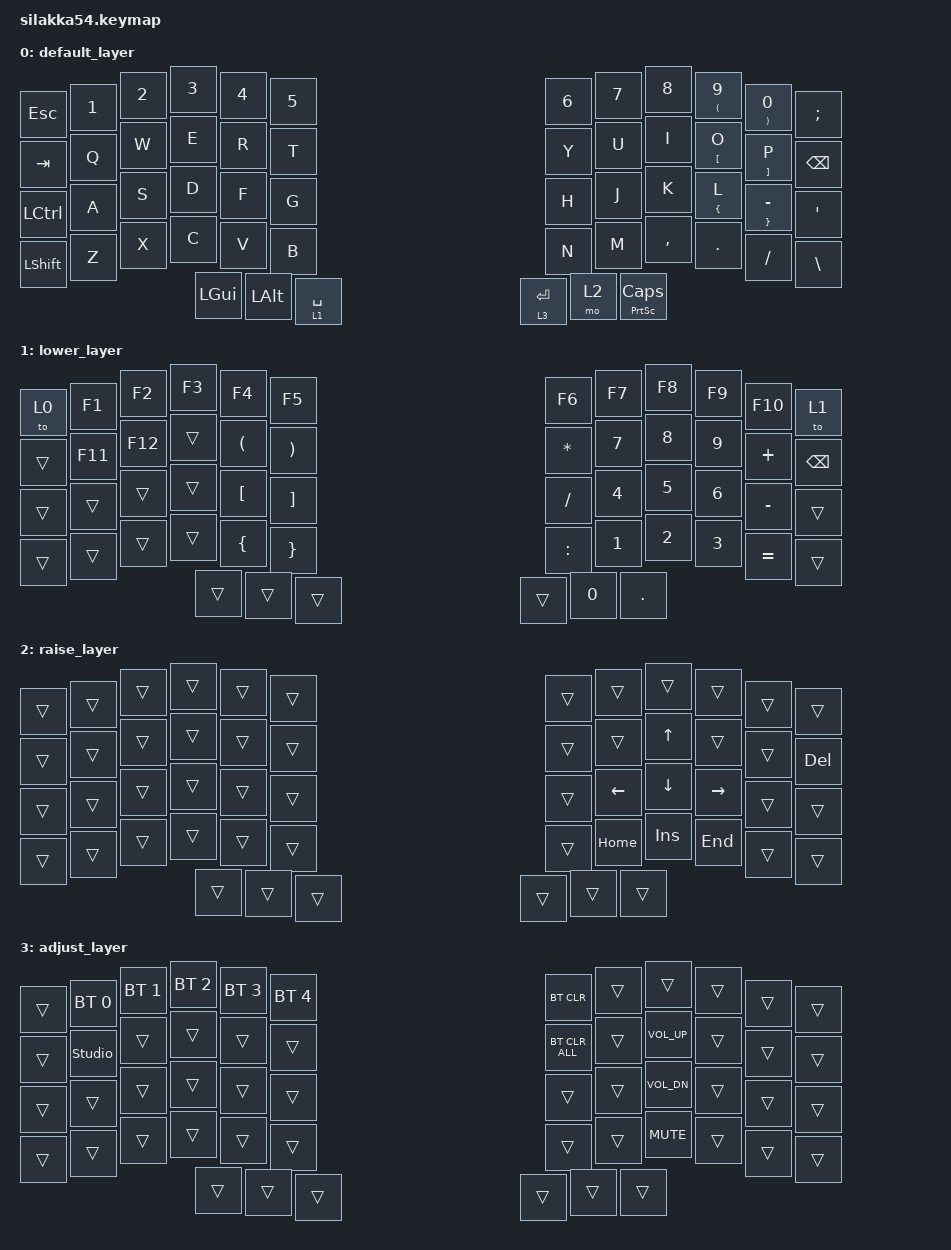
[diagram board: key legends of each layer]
/*
 * Copyright (c) 2020 The ZMK Contributors
 *
 * SPDX-License-Identifier: MIT
 */

#include <behaviors.dtsi>
#include <dt-bindings/zmk/bt.h>
#include <dt-bindings/zmk/keys.h>

/ {
    macros {
        switch_lang: switch_lang {
            compatible = "zmk,behavior-macro";
            #binding-cells = <0>;
            bindings =
                <&macro_press>,
                <&kp LSHIFT>,
                <&macro_tap>,
                <&kp CAPS>,
                <&macro_release>,
                <&kp LSHIFT>;
        };
    };
};

/ {
    keymap {
        compatible = "zmk,keymap";

        default_layer {
            bindings = <
&kp ESC    &kp N1  &kp N2  &kp N3    &kp N4    &kp N5         &kp N6       &kp N7  &kp N8                    &mt LEFT_PARENTHESIS N9  &mt RIGHT_PARENTHESIS N0  &kp SEMI
&kp TAB    &kp Q   &kp W   &kp E     &kp R     &kp T          &kp Y        &kp U   &kp I                     &mt LEFT_BRACKET O       &mt RIGHT_BRACKET P       &kp BSPC
&kp LCTRL  &kp A   &kp S   &kp D     &kp F     &kp G          &kp H        &kp J   &kp K                     &mt LEFT_BRACE L         &mt RIGHT_BRACE MINUS     &kp SQT
&kp LSHFT  &kp Z   &kp X   &kp C     &kp V     &kp B          &kp N        &kp M   &kp COMMA                 &kp DOT                  &kp FSLH                  &kp BSLH
                           &kp LGUI  &kp LALT  &lt 1 SPACE    &lt 3 ENTER  &mo 2   &mt PRINTSCREEN CAPSLOCK
            >;
        };

        lower_layer {
            bindings = <
&to 0   &kp F1   &kp F2   &kp F3  &kp F4                &kp F5                   &kp F6        &kp F7  &kp F8   &kp F9  &kp F10    &to 1
&trans  &kp F11  &kp F12  &trans  &kp LEFT_PARENTHESIS  &kp RIGHT_PARENTHESIS    &kp ASTERISK  &kp N7  &kp N8   &kp N9  &kp PLUS   &kp BACKSPACE
&trans  &trans   &trans   &trans  &kp LEFT_BRACKET      &kp RIGHT_BRACKET        &kp SLASH     &kp N4  &kp N5   &kp N6  &kp MINUS  &trans
&trans  &trans   &trans   &trans  &kp LEFT_BRACE        &kp RIGHT_BRACE          &kp COLON     &kp N1  &kp N2   &kp N3  &kp EQUAL  &trans
                          &trans  &trans                &trans                   &trans        &kp N0  &kp DOT
            >;
        };

        raise_layer {
            bindings = <
&trans  &trans  &trans  &trans  &trans  &trans    &trans  &trans          &trans          &trans           &trans  &trans
&trans  &trans  &trans  &trans  &trans  &trans    &trans  &trans          &kp UP_ARROW    &trans           &trans  &kp DEL
&trans  &trans  &trans  &trans  &trans  &trans    &trans  &kp LEFT_ARROW  &kp DOWN_ARROW  &kp RIGHT_ARROW  &trans  &trans
&trans  &trans  &trans  &trans  &trans  &trans    &trans  &kp HOME        &kp INS         &kp END          &trans  &trans
                        &trans  &trans  &trans    &trans  &trans          &trans
            >;
        };

        adjust_layer {
            bindings = <
&trans  &bt BT_SEL 0    &bt BT_SEL 1  &bt BT_SEL 2  &bt BT_SEL 3  &bt BT_SEL 4    &bt BT_CLR      &trans  &trans        &trans  &trans  &trans
&trans  &studio_unlock  &trans        &trans        &trans        &trans          &bt BT_CLR_ALL  &trans  &kp C_VOL_UP  &trans  &trans  &trans
&trans  &trans          &trans        &trans        &trans        &trans          &trans          &trans  &kp C_VOL_DN  &trans  &trans  &trans
&trans  &trans          &trans        &trans        &trans        &trans          &trans          &trans  &kp C_MUTE    &trans  &trans  &trans
                                      &trans        &trans        &trans          &trans          &trans  &trans
            >;
        };
    };
};

/ {
    combos {
        compatible = "zmk,combos";

        combo_esc {
            timeout-ms = <50>;
            key-positions = <28 31>;
            bindings = <&switch_lang>;
        };
    };
};
